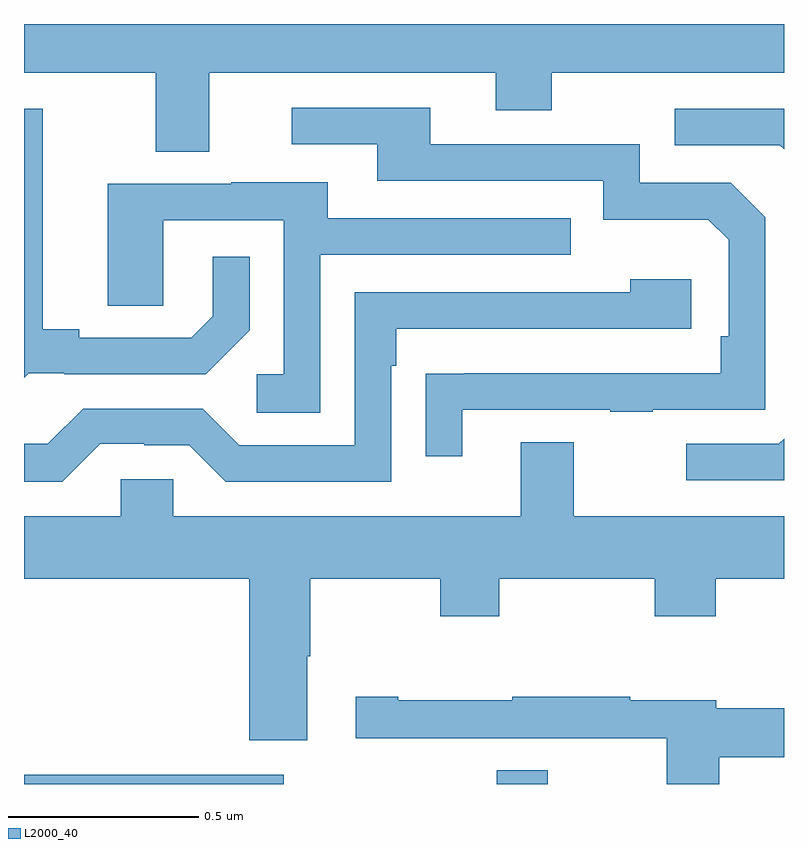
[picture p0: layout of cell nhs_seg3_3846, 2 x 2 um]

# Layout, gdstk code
import gdstk
lib = gdstk.Library(unit=1e-6, precision=1e-09)
def R(c, l, rs):  # rectangles x0, y0, x1, y1
    for r in rs: c.add(gdstk.rectangle(r[:2], r[2:], *l))
def P(c, l, *ps):  # polygons
    for p in ps: c.add(gdstk.Polygon(p, *l))
L2000_40 = (2000, 40)

nhs_seg3_3846 = lib.new_cell('nhs_seg3_3846')
R(nhs_seg3_3846, L2000_40, [(159,676.4,159.684,676.424), (160.244,676.4,160.378,676.436)])
P(nhs_seg3_3846, L2000_40, [(159,678.272),(159.347,678.272),(159.347,678.064),(159.487,678.064),(159.487,678.272),(160.241,678.272),(160.241,678.173),(160.389,678.173),(160.389,678.272),(161,678.272),(161,678.4),(159,678.4)],
  [(160.153,677.385),(160.543,677.385),(160.543,677.38),(160.655,677.38),(160.655,677.385),(160.95,677.385),(160.95,677.892),(160.86,677.982),(160.62,677.982),(160.62,678.084),(160.069,678.084),(160.069,678.18),(159.705,678.18),(159.705,678.084),(159.929,678.084),(159.929,677.988),(160.524,677.988),(160.524,677.885),(160.801,677.885),(160.854,677.832),(160.854,677.578),(160.834,677.578),(160.834,677.481),(160.159,677.481),(160.159,677.48),(160.057,677.48),(160.057,677.262),(160.153,677.262)],
  [(161,678.177),(160.713,678.177),(160.713,678.081),(160.989,678.081),(161,678.07)],
  [(159.012,677.481),(159.106,677.481),(159.106,677.478),(159.478,677.478),(159.594,677.594),(159.594,677.788),(159.497,677.788),(159.497,677.631),(159.44,677.574),(159.145,677.574),(159.145,677.597),(159.049,677.597),(159.049,678.177),(159,678.177),(159,677.469)],
  [(159.78,677.793),(160.439,677.793),(160.439,677.889),(159.799,677.889),(159.799,677.983),(159.545,677.983),(159.545,677.979),(159.221,677.979),(159.221,677.659),(159.366,677.659),(159.366,677.883),(159.684,677.883),(159.684,677.478),(159.612,677.478),(159.612,677.377),(159.78,677.377)],
  [(159.201,677.295),(159.317,677.295),(159.317,677.292),(159.435,677.292),(159.531,677.196),(159.966,677.196),(159.966,677.501),(159.979,677.501),(159.979,677.598),(160.756,677.598),(160.756,677.728),(160.595,677.728),(160.595,677.694),(159.87,677.694),(159.87,677.292),(159.567,677.292),(159.471,677.388),(159.156,677.388),(159.063,677.295),(159,677.295),(159,677.195),(159.101,677.195)],
  [(161,677.309),(160.986,677.295),(160.743,677.295),(160.743,677.199),(161,677.199)],
  [(159.745,676.736),(159.753,676.736),(159.753,676.94),(160.096,676.94),(160.096,676.841),(160.251,676.841),(160.251,676.94),(160.66,676.94),(160.66,676.841),(160.82,676.841),(160.82,676.94),(161,676.94),(161,677.104),(160.447,677.104),(160.447,677.299),(160.307,677.299),(160.307,677.104),(159.393,677.104),(159.393,677.202),(159.255,677.202),(159.255,677.104),(159,677.104),(159,676.94),(159.593,676.94),(159.593,676.515),(159.745,676.515)],
  [(160.83,676.471),(161,676.471),(161,676.6),(160.822,676.6),(160.822,676.62),(160.595,676.62),(160.595,676.63),(160.285,676.63),(160.285,676.62),(159.985,676.62),(159.985,676.63),(159.873,676.63),(159.873,676.52),(160.148,676.52),(160.148,676.521),(160.482,676.521),(160.482,676.52),(160.692,676.52),(160.692,676.4),(160.83,676.4)])

lib.write_gds('nhs_seg3_3846.gds')
